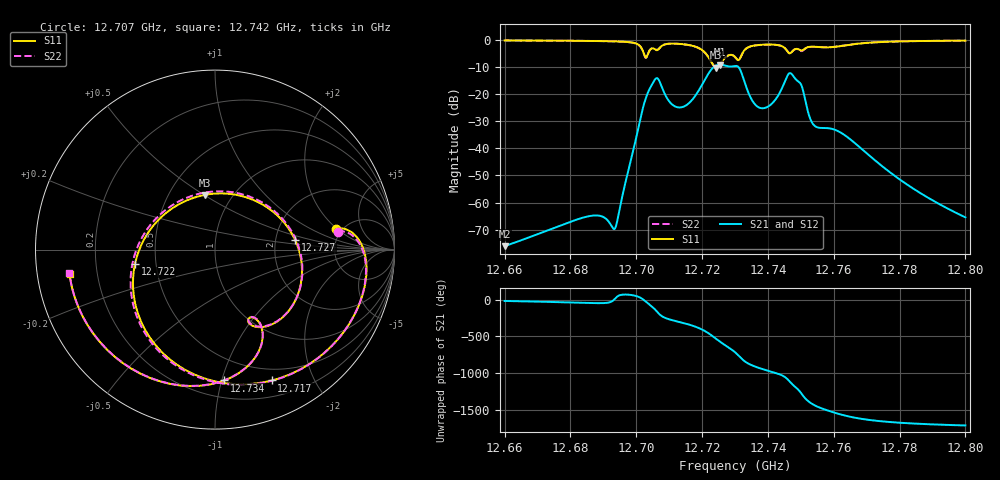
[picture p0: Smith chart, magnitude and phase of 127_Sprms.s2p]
! TOUCHSTONE file generated by CST MICROWAVE STUDIO
! Date and time: Wed Jul 31 17:12:42 2024
! Project name: WaveGuide_BPF-Ver4.1_U-shape_Ku_T3_C4_CWA_2.cst
! Parameters = {cavity_h=16; cavity_l0=10; cavity_l1=15.1908; cavity_l2=16.804; cavity_l3=17.1202; cavity_l4=17.3016; cavity_l5=17.0939; cavity_l6=17.6262; cavity_r=2.5; cavity_screw_l=0.5; cavity_screw_r=1.5; cavity_w=8; iris_h00=0; iris_h01=8.8118; iris_h112=0; iris_h12=5.5937; iris_h211=3.6685; i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
! Header version: 2018
! Port assignment regex: !\s*Touchstone port\s*([0-9]+)\s*=\s*(CST MWS port|CST DS port)\s*([0-9]+|Zmin|Zmax)\s*\(\"(.*)\"\)(\s*mode\s*([0-9]+))?.*
! Touchstone port assignment:
! Touchstone port 1 = CST MWS port 1 ("")
! Touchstone port 2 = CST MWS port 2 ("")
# GHz S RI R 50
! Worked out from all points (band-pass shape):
!   5001 points, 12.66 GHz to 12.8 GHz, reference 50 ohm
!   highest |S21| = -9.08 dB at 12.725 GHz (marker M1); lowest = -76.1 dB at 12.66 GHz (marker M2)
!   |S21| within 3 dB of the highest: 12.72209 GHz to 12.73195 GHz (9.869 MHz wide, 0.0775 % of centre)
!   lowest |S11| = -10.2 dB at 12.724 GHz (marker M3), VSWR 1.90, Z = 37.4 + j25.2 ohm
!   |S11| at or under -10 dB: 12.72389 GHz to 12.72467 GHz (778.7 kHz wide, 0.00612 % of centre)
!   |S22| runs from -9.8 to -0.1 dB; largest |S21 - S12| = 1e-09
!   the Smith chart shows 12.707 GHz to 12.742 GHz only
!   S11 on the Smith chart (normalised r, x): 12.707 GHz: 4.47, +1.91; 12.717 GHz: 0.37, -1.46; 12.722 GHz: 0.38, -0.08; 12.727 GHz: 2.59, +0.34; 12.734 GHz: 0.33, -1.02; 12.742 GHz: 0.10, -0.08
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12.66  0.2531 0.9503  0.000149 -4.96e-05  0.000149 -4.96e-05  0.2559 0.9495
12.68335  0.6239 0.7395  0.000375 -0.000356  0.000375 -0.000356  0.6284 0.7355
12.6936  0.8261 0.4596  0.000327 8.73e-05  0.000327 8.73e-05  0.8303 0.451
12.70245  0.5307 -0.0645  0.0679 -0.0126  0.0679 -0.0126  0.5146 -0.0631
12.70668  0.6592 0.1053  -0.1904 0.00941  -0.1904 0.00941  0.6697 0.0927
12.70684  0.674 0.1138  -0.1806 0.0346  -0.1806 0.0346  0.6841 0.0996
12.7113  0.8086 -0.2919  0.0158 0.06  0.0158 0.06  0.7987 -0.3147
12.7167  0.3151 -0.7292  0.0741 0.0133  0.0741 0.0133  0.2806 -0.7394
12.71956  -0.1893 -0.656  0.1049 -0.084  0.1049 -0.084  -0.2284 -0.6382
12.72222  -0.446 -0.082  -0.0745 -0.2446  -0.0745 -0.2446  -0.4517 -0.0436
12.72429  -0.0568 0.3047  -0.3392 -0.0291  -0.3392 -0.0291  -0.0442 0.3198
12.72535  0.2179 0.2748  -0.3024 0.179  -0.3024 0.179  0.2257 0.2817
12.7267  0.4472 0.0517  -0.0999 0.3258  -0.0999 0.3258  0.4501 0.0575
12.73  0.2292 -0.4304  0.3327 0.0194  0.3327 0.0194  0.2319 -0.4274
12.73392  0.0514 -0.729  -0.0961 -0.0587  -0.0961 -0.0587  0.0512 -0.7279
12.74182  -0.8098 -0.1387  0.0024 0.0734  0.0024 0.0734  -0.8108 -0.1306
12.74705  -0.5312 0.2481  0.1289 -0.2031  0.1289 -0.2031  -0.528 0.2669
12.75335  -0.0511 0.7521  0.0284 0.0107  0.0284 0.0107  -0.0233 0.749
12.76016  0.7315 -0.1538  -0.00382 -0.022  -0.00382 -0.022  0.7238 -0.1954
12.76632  0.0624 -0.8395  -0.0124 -0.00251  -0.0124 -0.00251  0.0339 -0.8448
12.77668  -0.7492 -0.5541  -0.00258 0.00277  -0.00258 0.00277  -0.7575 -0.5449
12.8  -0.9641 0.1534  4.74e-05 0.000531  4.74e-05 0.000531  -0.9638 0.1568
